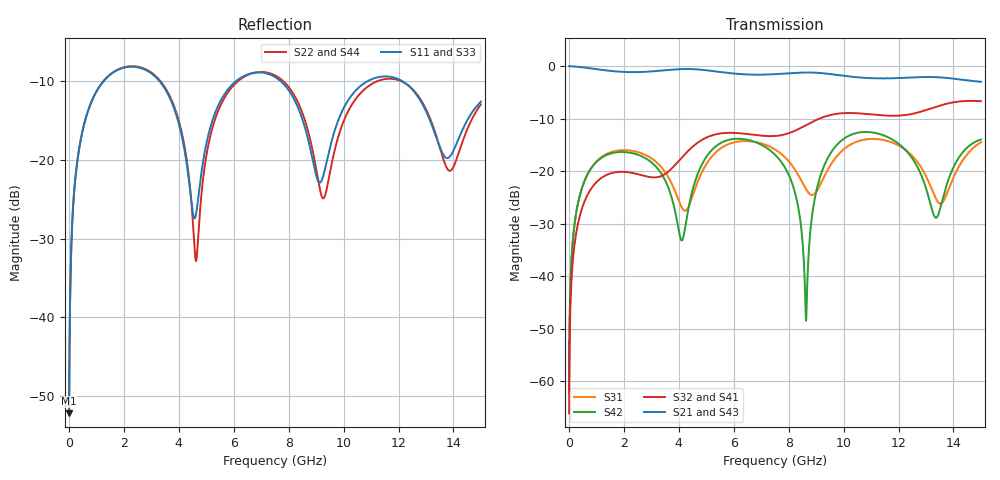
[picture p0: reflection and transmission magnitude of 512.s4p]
! Created with skrf 1.8.0 (http://scikit-rf.org).
# GHz S RI R 50.0
!freq ReS11 ImS11 ReS12 ImS12 ReS13 ImS13
! ReS14 ImS14
! ReS21 ImS21 ReS22 ImS22 ReS23 ImS23
! ReS24 ImS24
! ReS31 ImS31 ReS32 ImS32 ReS33 ImS33
! ReS34 ImS34
! ReS41 ImS41 ReS42 ImS42 ReS43 ImS43
! ReS44 ImS44
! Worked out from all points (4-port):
!   2499 points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, 5 MHz to 15 GHz, reference 50 ohm
!   strongest paths, dB at 5 MHz, 3.476 GHz, 7.19 GHz, 11.1 GHz, 15 GHz:
!     S21: 0.0, -0.8, -1.6, -2.3, -3.0
!     S43: 0.0, -0.8, -1.6, -2.3, -3.0
!     S32: -66.1, -20.6, -13.3, -9.2, -6.7
!     S41: -66.1, -20.6, -13.3, -9.3, -6.7
!     S42: -62.2, -21.5, -15.6, -12.7, -14.0
!     S31: -62.2, -20.0, -15.1, -13.9, -14.5
!   lowest |S11| = -52.2 dB at 5 MHz (marker M1), VSWR 1.00, Z = 50.2 + j0.149 ohm
!   |S11| at or under -10 dB: 3.302 GHz to 6.072 GHz (2.77 GHz wide, 59.1 % of centre); 7.715 GHz to 10.86 GHz (3.147 GHz wide, 33.9 % of centre); 12.15 GHz to end of sweep (the widest 3 of 4)
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0.005  0.00195 0.00148  0.998 -0.00379  9.9e-05 0.000773  -9.6e-05 -0.000485
       0.998 -0.00379  0.00195 0.00148  -9.6e-05 -0.000485  9.88e-05 0.000773
       9.9e-05 0.000773  -9.6e-05 -0.000485  0.00195 0.00148  0.998 -0.00379
       -9.6e-05 -0.000485  9.88e-05 0.000773  0.998 -0.00379  0.00195 0.00148
1.369321  0.2839 0.1728  0.5158 -0.7475  0.137 0.0494  -0.092 -0.000839
          0.5158 -0.7475  0.2872 0.1705  -0.092 -0.000818  0.1276 0.0633
          0.137 0.0494  -0.092 -0.000818  0.284 0.1729  0.5158 -0.7475
          -0.092 -0.000839  0.1276 0.0633  0.5158 -0.7475  0.2873 0.1705
4.676949  0.0459 0.0245  -0.9298 -0.00897  -0.0179 0.076  0.00447 0.1856
          -0.9298 -0.00897  0.0243 0.0121  0.00468 0.1857  0.042 0.0822
          -0.0179 0.076  0.00468 0.1857  0.0448 0.0233  -0.9298 -0.00907
          0.00447 0.1856  0.042 0.0822  -0.9298 -0.00907  0.0254 0.0109
7.5594  0.3137 -0.1088  0.2171 0.8109  0.0952 -0.1251  0.1885 -0.1055
        0.2171 0.8109  0.3224 -0.1112  0.1885 -0.1068  0.1095 -0.0848
        0.0952 -0.1251  0.1885 -0.1068  0.3146 -0.1072  0.2182 0.8103
        0.1885 -0.1055  0.1095 -0.0848  0.2182 0.8103  0.3224 -0.1142
8.634848  0.1099 -0.1042  0.7278 0.4749  -0.0533 -0.0409  0.1431 -0.2337
          0.7278 0.4749  0.1095 -0.1291  0.1417 -0.2346  0.00365 0.000848
          -0.0533 -0.0409  0.1417 -0.2346  0.1124 -0.1046  0.7283 0.4736
          0.1431 -0.2337  0.00365 0.000848  0.7283 0.4736  0.1086 -0.132
11.91121  0.3257 -0.0604  0.0143 -0.7676  0.1301 -0.1251  -0.3309 0.0595
          0.0143 -0.7676  0.3221 -0.044  -0.331 0.0617  0.1416 -0.1264
          0.1301 -0.1251  -0.331 0.0617  0.3224 -0.0614  0.00967 -0.7685
          -0.3309 0.0595  0.1416 -0.1264  0.00967 -0.7685  0.3196 -0.0467
15  0.2181 0.0878  -0.6249 0.3346  0.1828 0.0444  0.273 0.3739
    -0.6249 0.3346  0.1961 0.1119  0.2756 0.3728  0.1848 0.0769
    0.1828 0.0444  0.2756 0.3728  0.2188 0.0883  -0.6197 0.3421
    0.273 0.3739  0.1848 0.0769  -0.6197 0.3421  0.2006 0.1119
